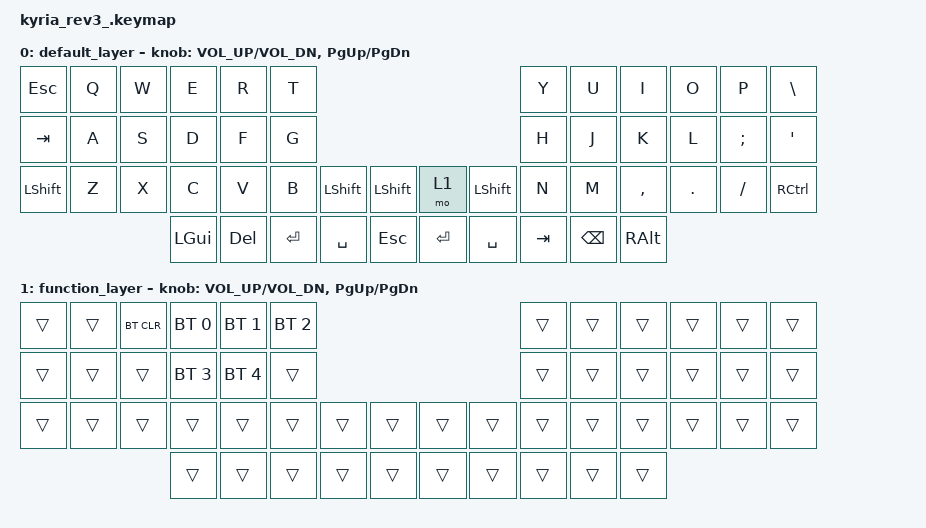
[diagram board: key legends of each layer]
/*
 * Copyright (c) 2023 The ZMK Contributors
 *
 * SPDX-License-Identifier: MIT
 */

#include <behaviors.dtsi>
#include <dt-bindings/zmk/bt.h>
#include <dt-bindings/zmk/keys.h>

/* Uncomment this block if using RGB
&led_strip {
    chain-length = <6>;
    // chain-length = <31>; // Uncomment if using both per-key and underglow LEDs
    // chain-length = <25>; // Uncomment if using only per-key LEDs.
};
 */

/ {
    keymap {
        compatible = "zmk,keymap";

        default_layer {
            bindings = <
//                ╭──────┬─────┬─────┬──────┬─────┬─────╮                              ╭─────┬─────┬─────┬─────┬─────┬─────╮
//                │  ⎋   │  Q  │  W  │  E   │  R  │  T  │                              │  Y  │  U  │  I  │  O  │  P  │  \  │
//                ├──────┼─────┼─────┼──────┼─────┼─────┤                              ├─────┼─────┼─────┼─────┼─────┼─────┤
//                │  ⭾   │  A  │  S  │  D   │  F  │  G  │                              │  H  │  J  │  K  │  L  │  ;  │  '  │
//                ├──────┼─────┼─────┼──────┼─────┼─────┼──────┬──────╮   ╭─────┬──────┼─────┼─────┼─────┼─────┼─────┼─────┤
//                │ lsft │  Z  │  X  │  C   │  V  │  B  │ lsft │ lsft │   │  1 │ lsft │  N  │  M  │  ,  │  .  │  /  │  ⌃  │
//                ╰──────┴─────┴─────┼──────┼─────┼─────┼──────┼──────┤   ├─────┼──────┼─────┼─────┼─────┼─────┴─────┴─────╯
//                                   │ lgui │  ⌦  │  ⏎  │  ␣   │  ⎋   │   │  ⏎  │  ␣   │  ⭾  │  ⌫  │  ⎇  │
//                                   ╰──────┴─────┴─────┴──────┴──────╯   ╰─────┴──────┴─────┴─────┴─────╯
              &kp ESC     &kp Q   &kp W   &kp E      &kp R     &kp T                                                       &kp Y     &kp U      &kp I       &kp O     &kp P      &kp BSLH
              &kp TAB     &kp A   &kp S   &kp D      &kp F     &kp G                                                       &kp H     &kp J      &kp K       &kp L     &kp SEMI   &kp SQT
              &kp LSHFT   &kp Z   &kp X   &kp C      &kp V     &kp B     &kp LSHFT   &kp LSHFT       &mo 1     &kp LSHFT   &kp N     &kp M      &kp COMMA   &kp DOT   &kp FSLH   &kp RCTRL
                                          &kp LGUI   &kp DEL   &kp RET   &kp SPACE   &kp ESC         &kp RET   &kp SPACE   &kp TAB   &kp BSPC   &kp RALT
            >;

            sensor-bindings = <&inc_dec_kp C_VOL_UP C_VOL_DN &inc_dec_kp PG_UP PG_DN>;
        };
        function_layer {
            bindings = <
//                ╭─────┬─────┬─────────────┬──────────┬──────────┬──────────╮                           ╭─────┬─────┬─────┬─────┬─────┬─────╮
//                │     │     │ bt_Clear BT │ bt_sel 0 │ bt_sel 1 │ bt_sel 2 │                           │     │     │     │     │     │     │
//                ├─────┼─────┼─────────────┼──────────┼──────────┼──────────┤                           ├─────┼─────┼─────┼─────┼─────┼─────┤
//                │     │     │             │ bt_sel 3 │ bt_sel 4 │          │                           │     │     │     │     │     │     │
//                ├─────┼─────┼─────────────┼──────────┼──────────┼──────────┼─────┬─────╮   ╭─────┬─────┼─────┼─────┼─────┼─────┼─────┼─────┤
//                │     │     │             │          │          │          │     │     │   │     │     │     │     │     │     │     │     │
//                ╰─────┴─────┴─────────────┼──────────┼──────────┼──────────┼─────┼─────┤   ├─────┼─────┼─────┼─────┼─────┼─────┴─────┴─────╯
//                                          │          │          │          │     │     │   │     │     │     │     │     │
//                                          ╰──────────┴──────────┴──────────┴─────┴─────╯   ╰─────┴─────┴─────┴─────┴─────╯
              &trans   &trans   &bt BT_CLR   &bt BT_SEL 0   &bt BT_SEL 1   &bt BT_SEL 2                                           &trans   &trans   &trans   &trans   &trans   &trans
              &trans   &trans   &trans       &bt BT_SEL 3   &bt BT_SEL 4   &trans                                                 &trans   &trans   &trans   &trans   &trans   &trans
              &trans   &trans   &trans       &trans         &trans         &trans         &trans   &trans       &trans   &trans   &trans   &trans   &trans   &trans   &trans   &trans
                                             &trans         &trans         &trans         &trans   &trans       &trans   &trans   &trans   &trans   &trans
            >;

            sensor-bindings = <&inc_dec_kp C_VOL_UP C_VOL_DN &inc_dec_kp PG_UP PG_DN>;
        };
    };
};
